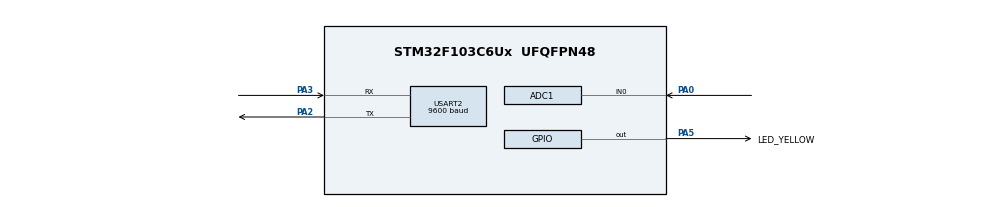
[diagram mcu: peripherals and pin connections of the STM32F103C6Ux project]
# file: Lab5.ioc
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ADC1.Channel-2\#ChannelRegularConversion=ADC_CHANNEL_0
ADC1.ContinuousConvMode=ENABLE
ADC1.NbrOfConversionFlag=1
ADC1.Rank-2\#ChannelRegularConversion=1
ADC1.SamplingTime-2\#ChannelRegularConversion=ADC_SAMPLETIME_1CYCLE_5
ADC1.master=1
Mcu.Family=STM32F1
Mcu.Name=STM32F103C6Ux
Mcu.Package=UFQFPN48
NVIC.PriorityGroup=NVIC_PRIORITYGROUP_4
NVIC.TIM2_IRQn=true\:0\:0\:false\:false\:true\:true\:true\:true
NVIC.USART2_IRQn=true\:0\:0\:false\:false\:true\:true\:true\:true
PA0-WKUP.Signal=ADCx_IN0
PA13.Mode=Serial_Wire
PA13.Signal=SYS_JTMS-SWDIO
PA14.Mode=Serial_Wire
PA14.Signal=SYS_JTCK-SWCLK
PA2.Mode=Asynchronous
PA2.Signal=USART2_TX
PA3.Mode=Asynchronous
PA3.Signal=USART2_RX
PA5.GPIO_Label=LED_YELLOW
PA5.Signal=GPIO_Output
ProjectManager.HeapSize=0x200
ProjectManager.StackSize=0x400
ProjectManager.TargetToolchain=STM32CubeIDE
RCC.APB1Freq_Value=8000000
RCC.APB2Freq_Value=8000000
SH.ADCx_IN0.0=ADC1_IN0,IN0
TIM2.Period=9
TIM2.Prescaler=7999
USART2.BaudRate=9600
USART2.VirtualMode=VM_ASYNC
VP_TIM2_VS_ClockSourceINT.Mode=Internal
board=custom

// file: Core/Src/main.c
/* USER CODE BEGIN Header */
/**
  ******************************************************************************
  * @file           : main.c
  * @brief          : Main program body
  ******************************************************************************
  * @attention
  *
  * <h2><center>&copy; Copyright (c) 2024 STMicroelectronics.
  * All rights reserved.</center></h2>
  *
  * This software component is licensed by ST under BSD 3-Clause license,
  * the "License"; You may not use this file except in compliance with the
  * License. You may obtain a copy of the License at:
  *                        opensource.org/licenses/BSD-3-Clause
  *
  ******************************************************************************
  */
/* USER CODE END Header */
#include "main.h"

/* USER CODE BEGIN Includes */
#include <stdio.h>
#include "command_parser.h"
#include "uart_communication.h"
#include "software_timer.h"
#include "global.h"

/* USER CODE END Includes */

ADC_HandleTypeDef hadc1;

TIM_HandleTypeDef htim2;

UART_HandleTypeDef huart2;

void SystemClock_Config(void);
static void MX_GPIO_Init(void);
static void MX_ADC1_Init(void);
static void MX_USART2_UART_Init(void);
static void MX_TIM2_Init(void);

/* USER CODE BEGIN 0 */

uint8_t temp = 0;
volatile uint8_t buffer[MAX_BUFFER_SIZE];
volatile uint8_t buffer_head = 0;
volatile uint8_t buffer_tail = 0;

int isRST = 0;
int isOK = 0;

void HAL_UART_RxCpltCallback(UART_HandleTypeDef *huart) {
    if (huart->Instance == USART2) {
        uint8_t received_char = temp;
        uint8_t next_head =
            (uint8_t)((buffer_head + 1U) % MAX_BUFFER_SIZE);

        /*
         * The ring buffer is full when next_head equals buffer_tail.
         * Drop the newest byte instead of overwriting unread data.
         */
        if (next_head != buffer_tail) {
            buffer[buffer_head] = received_char;
            buffer_head = next_head;
        }

        /* Re-arm reception before echoing the received character. */
        HAL_UART_Receive_IT(&huart2, &temp, 1);
        HAL_UART_Transmit(&huart2, &received_char, 1, 50);
    }
}

/* USER CODE END 0 */

int main(void)
{

  /* MCU Configuration--------------------------------------------------------*/

  /* Reset of all peripherals, Initializes the Flash interface and the Systick. */
  HAL_Init();

  /* Configure the system clock */
  SystemClock_Config();

  /* Initialize all configured peripherals */
  MX_GPIO_Init();
  MX_ADC1_Init();
  MX_USART2_UART_Init();
  MX_TIM2_Init();
  /* USER CODE BEGIN 2 */
  HAL_TIM_Base_Start_IT(&htim2);
  HAL_ADC_Start(&hadc1);
  HAL_UART_Receive_IT(&huart2, &temp, 1); // Start receiving UART data
  /* USER CODE END 2 */

  /* Infinite loop */
  /* USER CODE BEGIN WHILE */
  command_parser_init();
  uart_communication_init();
  char welcome[50];
  HAL_UART_Transmit(&huart2, (void *)welcome, sprintf(welcome, "STARTING STM32 UART LAB5\r\n"), 50);

  while (1) {
      /*
       * Process every byte queued by the UART interrupt.
       * One slot is reserved to distinguish full from empty:
       * usable capacity = MAX_BUFFER_SIZE - 1.
       */
      while (buffer_tail != buffer_head) {
          uint8_t received_char = buffer[buffer_tail];
          buffer_tail =
              (uint8_t)((buffer_tail + 1U) % MAX_BUFFER_SIZE);

          command_parser_fsm(received_char);
      }

      uart_communication_fsm(); // xu ly giao tiep UART

    /* USER CODE END WHILE */

  }
}

void SystemClock_Config(void)
{
  RCC_OscInitTypeDef RCC_OscInitStruct = {0};
  RCC_ClkInitTypeDef RCC_ClkInitStruct = {0};
  RCC_PeriphCLKInitTypeDef PeriphClkInit = {0};

  /** Initializes the RCC Oscillators according to the specified parameters
  * in the RCC_OscInitTypeDef structure.
  */
  RCC_OscInitStruct.OscillatorType = RCC_OSCILLATORTYPE_HSI;
  RCC_OscInitStruct.HSIState = RCC_HSI_ON;
  RCC_OscInitStruct.HSICalibrationValue = RCC_HSICALIBRATION_DEFAULT;
  RCC_OscInitStruct.PLL.PLLState = RCC_PLL_NONE;
  if (HAL_RCC_OscConfig(&RCC_OscInitStruct) != HAL_OK)
  {
    Error_Handler();
  }
  /** Initializes the CPU, AHB and APB buses clocks
  */
  RCC_ClkInitStruct.ClockType = RCC_CLOCKTYPE_HCLK|RCC_CLOCKTYPE_SYSCLK
                              |RCC_CLOCKTYPE_PCLK1|RCC_CLOCKTYPE_PCLK2;
  RCC_ClkInitStruct.SYSCLKSource = RCC_SYSCLKSOURCE_HSI;
  RCC_ClkInitStruct.AHBCLKDivider = RCC_SYSCLK_DIV1;
  RCC_ClkInitStruct.APB1CLKDivider = RCC_HCLK_DIV1;
  RCC_ClkInitStruct.APB2CLKDivider = RCC_HCLK_DIV1;

  if (HAL_RCC_ClockConfig(&RCC_ClkInitStruct, FLASH_LATENCY_0) != HAL_OK)
  {
    Error_Handler();
  }
  PeriphClkInit.PeriphClockSelection = RCC_PERIPHCLK_ADC;
  PeriphClkInit.AdcClockSelection = RCC_ADCPCLK2_DIV2;
  if (HAL_RCCEx_PeriphCLKConfig(&PeriphClkInit) != HAL_OK)
  {
    Error_Handler();
  }
}

static void MX_ADC1_Init(void)
{

  ADC_ChannelConfTypeDef sConfig = {0};

  /** Common config
  */
  hadc1.Instance = ADC1;
  hadc1.Init.ScanConvMode = ADC_SCAN_DISABLE;
  hadc1.Init.ContinuousConvMode = ENABLE;
  hadc1.Init.DiscontinuousConvMode = DISABLE;
  hadc1.Init.ExternalTrigConv = ADC_SOFTWARE_START;
  hadc1.Init.DataAlign = ADC_DATAALIGN_RIGHT;
  hadc1.Init.NbrOfConversion = 1;
  if (HAL_ADC_Init(&hadc1) != HAL_OK)
  {
    Error_Handler();
  }
  /** Configure Regular Channel
  */
  sConfig.Channel = ADC_CHANNEL_0;
  sConfig.Rank = ADC_REGULAR_RANK_1;
  sConfig.SamplingTime = ADC_SAMPLETIME_1CYCLE_5;
  if (HAL_ADC_ConfigChannel(&hadc1, &sConfig) != HAL_OK)
  {
    Error_Handler();
  }

}

static void MX_TIM2_Init(void)
{

  TIM_ClockConfigTypeDef sClockSourceConfig = {0};
  TIM_MasterConfigTypeDef sMasterConfig = {0};

  htim2.Instance = TIM2;
  htim2.Init.Prescaler = 7999;
  htim2.Init.CounterMode = TIM_COUNTERMODE_UP;
  htim2.Init.Period = 9;
  htim2.Init.ClockDivision = TIM_CLOCKDIVISION_DIV1;
  htim2.Init.AutoReloadPreload = TIM_AUTORELOAD_PRELOAD_DISABLE;
  if (HAL_TIM_Base_Init(&htim2) != HAL_OK)
  {
    Error_Handler();
  }
  sClockSourceConfig.ClockSource = TIM_CLOCKSOURCE_INTERNAL;
  if (HAL_TIM_ConfigClockSource(&htim2, &sClockSourceConfig) != HAL_OK)
  {
    Error_Handler();
  }
  sMasterConfig.MasterOutputTrigger = TIM_TRGO_RESET;
  sMasterConfig.MasterSlaveMode = TIM_MASTERSLAVEMODE_DISABLE;
  if (HAL_TIMEx_MasterConfigSynchronization(&htim2, &sMasterConfig) != HAL_OK)
  {
    Error_Handler();
  }

}

static void MX_USART2_UART_Init(void)
{

  huart2.Instance = USART2;
  huart2.Init.BaudRate = 9600;
  huart2.Init.WordLength = UART_WORDLENGTH_8B;
  huart2.Init.StopBits = UART_STOPBITS_1;
  huart2.Init.Parity = UART_PARITY_NONE;
  huart2.Init.Mode = UART_MODE_TX_RX;
  huart2.Init.HwFlowCtl = UART_HWCONTROL_NONE;
  huart2.Init.OverSampling = UART_OVERSAMPLING_16;
  if (HAL_UART_Init(&huart2) != HAL_OK)
  {
    Error_Handler();
  }

}

static void MX_GPIO_Init(void)
{
  GPIO_InitTypeDef GPIO_InitStruct = {0};

  /* GPIO Ports Clock Enable */
  __HAL_RCC_GPIOA_CLK_ENABLE();

  /*Configure GPIO pin Output Level */
  HAL_GPIO_WritePin(LED_YELLOW_GPIO_Port, LED_YELLOW_Pin, GPIO_PIN_RESET);

  /*Configure GPIO pin : LED_YELLOW_Pin */
  GPIO_InitStruct.Pin = LED_YELLOW_Pin;
  GPIO_InitStruct.Mode = GPIO_MODE_OUTPUT_PP;
  GPIO_InitStruct.Pull = GPIO_NOPULL;
  GPIO_InitStruct.Speed = GPIO_SPEED_FREQ_LOW;
  HAL_GPIO_Init(LED_YELLOW_GPIO_Port, &GPIO_InitStruct);

}

/* USER CODE BEGIN 4 */
void HAL_TIM_PeriodElapsedCallback(TIM_HandleTypeDef *htim)
{
	timerRun();
}

/* USER CODE END 4 */

void Error_Handler(void)
{
  __disable_irq();
  while (1)
  {
  }
}

/************************ (C) COPYRIGHT STMicroelectronics *****END OF FILE****/
